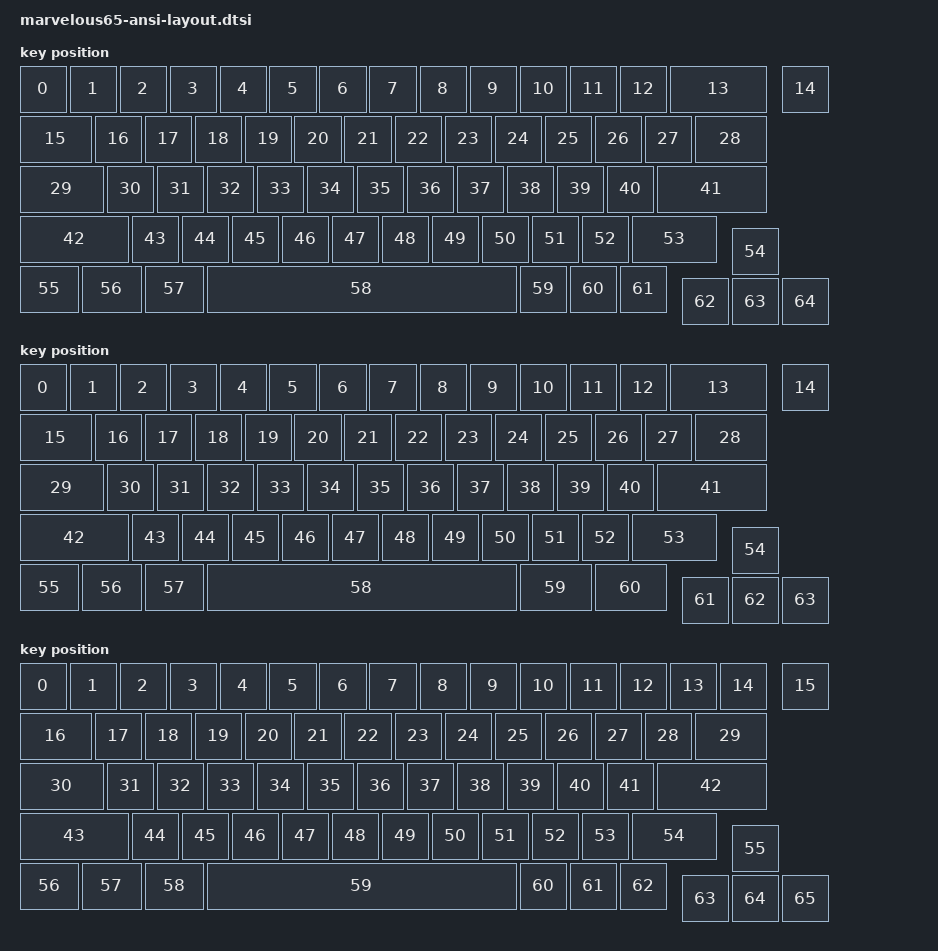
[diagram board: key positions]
#include <physical_layouts.dtsi>

/ {
    ansi_layout_0: ansi_ansi_layout_0 {
        compatible = "zmk,physical-layout";
        display-name = "Marvelous65-ansi-1";

        keys  //                     w   h    x    y     rot    rx    ry
            = <&key_physical_attrs 100 100  300    0       0     0     0>
            , <&key_physical_attrs 100 100  400    0       0     0     0>
            , <&key_physical_attrs 100 100  500    0       0     0     0>
            , <&key_physical_attrs 100 100  600    0       0     0     0>
            , <&key_physical_attrs 100 100  700    0       0     0     0>
            , <&key_physical_attrs 100 100  800    0       0     0     0>
            , <&key_physical_attrs 100 100  900    0       0     0     0>
            , <&key_physical_attrs 100 100 1000    0       0     0     0>
            , <&key_physical_attrs 100 100 1100    0       0     0     0>
            , <&key_physical_attrs 100 100 1200    0       0     0     0>
            , <&key_physical_attrs 100 100 1300    0       0     0     0>
            , <&key_physical_attrs 100 100 1400    0       0     0     0>
            , <&key_physical_attrs 100 100 1500    0       0     0     0>
            , <&key_physical_attrs 200 100 1600    0       0     0     0>
            , <&key_physical_attrs 100 100 1825    0       0     0     0>
            , <&key_physical_attrs 150 100  300  100       0     0     0>
            , <&key_physical_attrs 100 100  450  100       0     0     0>
            , <&key_physical_attrs 100 100  550  100       0     0     0>
            , <&key_physical_attrs 100 100  650  100       0     0     0>
            , <&key_physical_attrs 100 100  750  100       0     0     0>
            , <&key_physical_attrs 100 100  850  100       0     0     0>
            , <&key_physical_attrs 100 100  950  100       0     0     0>
            , <&key_physical_attrs 100 100 1050  100       0     0     0>
            , <&key_physical_attrs 100 100 1150  100       0     0     0>
            , <&key_physical_attrs 100 100 1250  100       0     0     0>
            , <&key_physical_attrs 100 100 1350  100       0     0     0>
            , <&key_physical_attrs 100 100 1450  100       0     0     0>
            , <&key_physical_attrs 100 100 1550  100       0     0     0>
            , <&key_physical_attrs 150 100 1650  100       0     0     0>
            , <&key_physical_attrs 175 100  300  200       0     0     0>
            , <&key_physical_attrs 100 100  475  200       0     0     0>
            , <&key_physical_attrs 100 100  575  200       0     0     0>
            , <&key_physical_attrs 100 100  675  200       0     0     0>
            , <&key_physical_attrs 100 100  775  200       0     0     0>
            , <&key_physical_attrs 100 100  875  200       0     0     0>
            , <&key_physical_attrs 100 100  975  200       0     0     0>
            , <&key_physical_attrs 100 100 1075  200       0     0     0>
            , <&key_physical_attrs 100 100 1175  200       0     0     0>
            , <&key_physical_attrs 100 100 1275  200       0     0     0>
            , <&key_physical_attrs 100 100 1375  200       0     0     0>
            , <&key_physical_attrs 100 100 1475  200       0     0     0>
            , <&key_physical_attrs 225 100 1575  200       0     0     0>
            , <&key_physical_attrs 225 100  300  300       0     0     0>
            , <&key_physical_attrs 100 100  525  300       0     0     0>
            , <&key_physical_attrs 100 100  625  300       0     0     0>
            , <&key_physical_attrs 100 100  725  300       0     0     0>
            , <&key_physical_attrs 100 100  825  300       0     0     0>
            , <&key_physical_attrs 100 100  925  300       0     0     0>
            , <&key_physical_attrs 100 100 1025  300       0     0     0>
            , <&key_physical_attrs 100 100 1125  300       0     0     0>
            , <&key_physical_attrs 100 100 1225  300       0     0     0>
            , <&key_physical_attrs 100 100 1325  300       0     0     0>
            , <&key_physical_attrs 100 100 1425  300       0     0     0>
            , <&key_physical_attrs 175 100 1525  300       0     0     0>
            , <&key_physical_attrs 100 100 1725  325       0     0     0>
            , <&key_physical_attrs 125 100  300  400       0     0     0>
            , <&key_physical_attrs 125 100  425  400       0     0     0>
            , <&key_physical_attrs 125 100  550  400       0     0     0>
            , <&key_physical_attrs 625 100  675  400       0     0     0>
            , <&key_physical_attrs 100 100 1300  400       0     0     0>
            , <&key_physical_attrs 100 100 1400  400       0     0     0>
            , <&key_physical_attrs 100 100 1500  400       0     0     0>
            , <&key_physical_attrs 100 100 1625  425       0     0     0>
            , <&key_physical_attrs 100 100 1725  425       0     0     0>
            , <&key_physical_attrs 100 100 1825  425       0     0     0>
            ;
    };

    ansi_layout_1: ansi_ansi_layout_1 {
        compatible = "zmk,physical-layout";
        display-name = "Marvelous65-ansi-2";

        keys  //                     w   h    x    y     rot    rx    ry
            = <&key_physical_attrs 100 100  300    0       0     0     0>
            , <&key_physical_attrs 100 100  400    0       0     0     0>
            , <&key_physical_attrs 100 100  500    0       0     0     0>
            , <&key_physical_attrs 100 100  600    0       0     0     0>
            , <&key_physical_attrs 100 100  700    0       0     0     0>
            , <&key_physical_attrs 100 100  800    0       0     0     0>
            , <&key_physical_attrs 100 100  900    0       0     0     0>
            , <&key_physical_attrs 100 100 1000    0       0     0     0>
            , <&key_physical_attrs 100 100 1100    0       0     0     0>
            , <&key_physical_attrs 100 100 1200    0       0     0     0>
            , <&key_physical_attrs 100 100 1300    0       0     0     0>
            , <&key_physical_attrs 100 100 1400    0       0     0     0>
            , <&key_physical_attrs 100 100 1500    0       0     0     0>
            , <&key_physical_attrs 200 100 1600    0       0     0     0>
            , <&key_physical_attrs 100 100 1825    0       0     0     0>
            , <&key_physical_attrs 150 100  300  100       0     0     0>
            , <&key_physical_attrs 100 100  450  100       0     0     0>
            , <&key_physical_attrs 100 100  550  100       0     0     0>
            , <&key_physical_attrs 100 100  650  100       0     0     0>
            , <&key_physical_attrs 100 100  750  100       0     0     0>
            , <&key_physical_attrs 100 100  850  100       0     0     0>
            , <&key_physical_attrs 100 100  950  100       0     0     0>
            , <&key_physical_attrs 100 100 1050  100       0     0     0>
            , <&key_physical_attrs 100 100 1150  100       0     0     0>
            , <&key_physical_attrs 100 100 1250  100       0     0     0>
            , <&key_physical_attrs 100 100 1350  100       0     0     0>
            , <&key_physical_attrs 100 100 1450  100       0     0     0>
            , <&key_physical_attrs 100 100 1550  100       0     0     0>
            , <&key_physical_attrs 150 100 1650  100       0     0     0>
            , <&key_physical_attrs 175 100  300  200       0     0     0>
            , <&key_physical_attrs 100 100  475  200       0     0     0>
            , <&key_physical_attrs 100 100  575  200       0     0     0>
            , <&key_physical_attrs 100 100  675  200       0     0     0>
            , <&key_physical_attrs 100 100  775  200       0     0     0>
            , <&key_physical_attrs 100 100  875  200       0     0     0>
            , <&key_physical_attrs 100 100  975  200       0     0     0>
            , <&key_physical_attrs 100 100 1075  200       0     0     0>
            , <&key_physical_attrs 100 100 1175  200       0     0     0>
            , <&key_physical_attrs 100 100 1275  200       0     0     0>
            , <&key_physical_attrs 100 100 1375  200       0     0     0>
            , <&key_physical_attrs 100 100 1475  200       0     0     0>
            , <&key_physical_attrs 225 100 1575  200       0     0     0>
            , <&key_physical_attrs 225 100  300  300       0     0     0>
            , <&key_physical_attrs 100 100  525  300       0     0     0>
            , <&key_physical_attrs 100 100  625  300       0     0     0>
            , <&key_physical_attrs 100 100  725  300       0     0     0>
            , <&key_physical_attrs 100 100  825  300       0     0     0>
            , <&key_physical_attrs 100 100  925  300       0     0     0>
            , <&key_physical_attrs 100 100 1025  300       0     0     0>
            , <&key_physical_attrs 100 100 1125  300       0     0     0>
            , <&key_physical_attrs 100 100 1225  300       0     0     0>
            , <&key_physical_attrs 100 100 1325  300       0     0     0>
            , <&key_physical_attrs 100 100 1425  300       0     0     0>
            , <&key_physical_attrs 175 100 1525  300       0     0     0>
            , <&key_physical_attrs 100 100 1725  325       0     0     0>
            , <&key_physical_attrs 125 100  300  400       0     0     0>
            , <&key_physical_attrs 125 100  425  400       0     0     0>
            , <&key_physical_attrs 125 100  550  400       0     0     0>
            , <&key_physical_attrs 625 100  675  400       0     0     0>
            , <&key_physical_attrs 150 100 1300  400       0     0     0>
            , <&key_physical_attrs 150 100 1450  400       0     0     0>
            , <&key_physical_attrs 100 100 1625  425       0     0     0>
            , <&key_physical_attrs 100 100 1725  425       0     0     0>
            , <&key_physical_attrs 100 100 1825  425       0     0     0>
            ;
    };

    ansi_layout_2: ansi_ansi_layout_2 {
        compatible = "zmk,physical-layout";
        display-name = "Marvelous65-ansi-split-backspace-1";

        keys  //                     w   h    x    y     rot    rx    ry
            = <&key_physical_attrs 100 100  300    0       0     0     0>
            , <&key_physical_attrs 100 100  400    0       0     0     0>
            , <&key_physical_attrs 100 100  500    0       0     0     0>
            , <&key_physical_attrs 100 100  600    0       0     0     0>
            , <&key_physical_attrs 100 100  700    0       0     0     0>
            , <&key_physical_attrs 100 100  800    0       0     0     0>
            , <&key_physical_attrs 100 100  900    0       0     0     0>
            , <&key_physical_attrs 100 100 1000    0       0     0     0>
            , <&key_physical_attrs 100 100 1100    0       0     0     0>
            , <&key_physical_attrs 100 100 1200    0       0     0     0>
            , <&key_physical_attrs 100 100 1300    0       0     0     0>
            , <&key_physical_attrs 100 100 1400    0       0     0     0>
            , <&key_physical_attrs 100 100 1500    0       0     0     0>
            , <&key_physical_attrs 100 100 1600    0       0     0     0>
            , <&key_physical_attrs 100 100 1700    0       0     0     0>
            , <&key_physical_attrs 100 100 1825    0       0     0     0>
            , <&key_physical_attrs 150 100  300  100       0     0     0>
            , <&key_physical_attrs 100 100  450  100       0     0     0>
            , <&key_physical_attrs 100 100  550  100       0     0     0>
            , <&key_physical_attrs 100 100  650  100       0     0     0>
            , <&key_physical_attrs 100 100  750  100       0     0     0>
            , <&key_physical_attrs 100 100  850  100       0     0     0>
            , <&key_physical_attrs 100 100  950  100       0     0     0>
            , <&key_physical_attrs 100 100 1050  100       0     0     0>
            , <&key_physical_attrs 100 100 1150  100       0     0     0>
            , <&key_physical_attrs 100 100 1250  100       0     0     0>
            , <&key_physical_attrs 100 100 1350  100       0     0     0>
            , <&key_physical_attrs 100 100 1450  100       0     0     0>
            , <&key_physical_attrs 100 100 1550  100       0     0     0>
            , <&key_physical_attrs 150 100 1650  100       0     0     0>
            , <&key_physical_attrs 175 100  300  200       0     0     0>
            , <&key_physical_attrs 100 100  475  200       0     0     0>
            , <&key_physical_attrs 100 100  575  200       0     0     0>
            , <&key_physical_attrs 100 100  675  200       0     0     0>
            , <&key_physical_attrs 100 100  775  200       0     0     0>
            , <&key_physical_attrs 100 100  875  200       0     0     0>
            , <&key_physical_attrs 100 100  975  200       0     0     0>
            , <&key_physical_attrs 100 100 1075  200       0     0     0>
            , <&key_physical_attrs 100 100 1175  200       0     0     0>
            , <&key_physical_attrs 100 100 1275  200       0     0     0>
            , <&key_physical_attrs 100 100 1375  200       0     0     0>
            , <&key_physical_attrs 100 100 1475  200       0     0     0>
            , <&key_physical_attrs 225 100 1575  200       0     0     0>
            , <&key_physical_attrs 225 100  300  300       0     0     0>
            , <&key_physical_attrs 100 100  525  300       0     0     0>
            , <&key_physical_attrs 100 100  625  300       0     0     0>
            , <&key_physical_attrs 100 100  725  300       0     0     0>
            , <&key_physical_attrs 100 100  825  300       0     0     0>
            , <&key_physical_attrs 100 100  925  300       0     0     0>
            , <&key_physical_attrs 100 100 1025  300       0     0     0>
            , <&key_physical_attrs 100 100 1125  300       0     0     0>
            , <&key_physical_attrs 100 100 1225  300       0     0     0>
            , <&key_physical_attrs 100 100 1325  300       0     0     0>
            , <&key_physical_attrs 100 100 1425  300       0     0     0>
            , <&key_physical_attrs 175 100 1525  300       0     0     0>
            , <&key_physical_attrs 100 100 1725  325       0     0     0>
            , <&key_physical_attrs 125 100  300  400       0     0     0>
            , <&key_physical_attrs 125 100  425  400       0     0     0>
            , <&key_physical_attrs 125 100  550  400       0     0     0>
            , <&key_physical_attrs 625 100  675  400       0     0     0>
            , <&key_physical_attrs 100 100 1300  400       0     0     0>
            , <&key_physical_attrs 100 100 1400  400       0     0     0>
            , <&key_physical_attrs 100 100 1500  400       0     0     0>
            , <&key_physical_attrs 100 100 1625  425       0     0     0>
            , <&key_physical_attrs 100 100 1725  425       0     0     0>
            , <&key_physical_attrs 100 100 1825  425       0     0     0>
            ;
    };

    ansi_layout_3: ansi_ansi_layout_3 {
        compatible = "zmk,physical-layout";
        display-name = "Marvelous65-ansi-split-backspace-2";

        keys  //                     w   h    x    y     rot    rx    ry
            = <&key_physical_attrs 100 100  300    0       0     0     0>
            , <&key_physical_attrs 100 100  400    0       0     0     0>
            , <&key_physical_attrs 100 100  500    0       0     0     0>
            , <&key_physical_attrs 100 100  600    0       0     0     0>
            , <&key_physical_attrs 100 100  700    0       0     0     0>
            , <&key_physical_attrs 100 100  800    0       0     0     0>
            , <&key_physical_attrs 100 100  900    0       0     0     0>
            , <&key_physical_attrs 100 100 1000    0       0     0     0>
            , <&key_physical_attrs 100 100 1100    0       0     0     0>
            , <&key_physical_attrs 100 100 1200    0       0     0     0>
            , <&key_physical_attrs 100 100 1300    0       0     0     0>
            , <&key_physical_attrs 100 100 1400    0       0     0     0>
            , <&key_physical_attrs 100 100 1500    0       0     0     0>
            , <&key_physical_attrs 100 100 1600    0       0     0     0>
            , <&key_physical_attrs 100 100 1700    0       0     0     0>
            , <&key_physical_attrs 100 100 1825    0       0     0     0>
            , <&key_physical_attrs 150 100  300  100       0     0     0>
            , <&key_physical_attrs 100 100  450  100       0     0     0>
            , <&key_physical_attrs 100 100  550  100       0     0     0>
            , <&key_physical_attrs 100 100  650  100       0     0     0>
            , <&key_physical_attrs 100 100  750  100       0     0     0>
            , <&key_physical_attrs 100 100  850  100       0     0     0>
            , <&key_physical_attrs 100 100  950  100       0     0     0>
            , <&key_physical_attrs 100 100 1050  100       0     0     0>
            , <&key_physical_attrs 100 100 1150  100       0     0     0>
            , <&key_physical_attrs 100 100 1250  100       0     0     0>
            , <&key_physical_attrs 100 100 1350  100       0     0     0>
            , <&key_physical_attrs 100 100 1450  100       0     0     0>
            , <&key_physical_attrs 100 100 1550  100       0     0     0>
            , <&key_physical_attrs 150 100 1650  100       0     0     0>
            , <&key_physical_attrs 175 100  300  200       0     0     0>
            , <&key_physical_attrs 100 100  475  200       0     0     0>
            , <&key_physical_attrs 100 100  575  200       0     0     0>
            , <&key_physical_attrs 100 100  675  200       0     0     0>
            , <&key_physical_attrs 100 100  775  200       0     0     0>
            , <&key_physical_attrs 100 100  875  200       0     0     0>
            , <&key_physical_attrs 100 100  975  200       0     0     0>
            , <&key_physical_attrs 100 100 1075  200       0     0     0>
            , <&key_physical_attrs 100 100 1175  200       0     0     0>
            , <&key_physical_attrs 100 100 1275  200       0     0     0>
            , <&key_physical_attrs 100 100 1375  200       0     0     0>
            , <&key_physical_attrs 100 100 1475  200       0     0     0>
            , <&key_physical_attrs 225 100 1575  200       0     0     0>
            , <&key_physical_attrs 225 100  300  300       0     0     0>
            , <&key_physical_attrs 100 100  525  300       0     0     0>
            , <&key_physical_attrs 100 100  625  300       0     0     0>
            , <&key_physical_attrs 100 100  725  300       0     0     0>
            , <&key_physical_attrs 100 100  825  300       0     0     0>
            , <&key_physical_attrs 100 100  925  300       0     0     0>
            , <&key_physical_attrs 100 100 1025  300       0     0     0>
            , <&key_physical_attrs 100 100 1125  300       0     0     0>
            , <&key_physical_attrs 100 100 1225  300       0     0     0>
            , <&key_physical_attrs 100 100 1325  300       0     0     0>
            , <&key_physical_attrs 100 100 1425  300       0     0     0>
            , <&key_physical_attrs 175 100 1525  300       0     0     0>
            , <&key_physical_attrs 100 100 1725  325       0     0     0>
            , <&key_physical_attrs 125 100  300  400       0     0     0>
            , <&key_physical_attrs 125 100  425  400       0     0     0>
            , <&key_physical_attrs 125 100  550  400       0     0     0>
            , <&key_physical_attrs 625 100  675  400       0     0     0>
            , <&key_physical_attrs 150 100 1300  400       0     0     0>
            , <&key_physical_attrs 150 100 1450  400       0     0     0>
            , <&key_physical_attrs 100 100 1625  425       0     0     0>
            , <&key_physical_attrs 100 100 1725  425       0     0     0>
            , <&key_physical_attrs 100 100 1825  425       0     0     0>
            ;
    };

    ansi_layout_4: ansi_ansi_layout_4 {
        compatible = "zmk,physical-layout";
        display-name = "Marvelous65-ansi-split-space-1";

        keys  //                     w   h    x    y     rot    rx    ry
            = <&key_physical_attrs 100 100  300    0       0     0     0>
            , <&key_physical_attrs 100 100  400    0       0     0     0>
            , <&key_physical_attrs 100 100  500    0       0     0     0>
            , <&key_physical_attrs 100 100  600    0       0     0     0>
            , <&key_physical_attrs 100 100  700    0       0     0     0>
            , <&key_physical_attrs 100 100  800    0       0     0     0>
            , <&key_physical_attrs 100 100  900    0       0     0     0>
            , <&key_physical_attrs 100 100 1000    0       0     0     0>
            , <&key_physical_attrs 100 100 1100    0       0     0     0>
            , <&key_physical_attrs 100 100 1200    0       0     0     0>
            , <&key_physical_attrs 100 100 1300    0       0     0     0>
            , <&key_physical_attrs 100 100 1400    0       0     0     0>
            , <&key_physical_attrs 100 100 1500    0       0     0     0>
            , <&key_physical_attrs 200 100 1600    0       0     0     0>
            , <&key_physical_attrs 100 100 1825    0       0     0     0>
            , <&key_physical_attrs 150 100  300  100       0     0     0>
            , <&key_physical_attrs 100 100  450  100       0     0     0>
            , <&key_physical_attrs 100 100  550  100       0     0     0>
            , <&key_physical_attrs 100 100  650  100       0     0     0>
            , <&key_physical_attrs 100 100  750  100       0     0     0>
            , <&key_physical_attrs 100 100  850  100       0     0     0>
            , <&key_physical_attrs 100 100  950  100       0     0     0>
            , <&key_physical_attrs 100 100 1050  100       0     0     0>
            , <&key_physical_attrs 100 100 1150  100       0     0     0>
            , <&key_physical_attrs 100 100 1250  100       0     0     0>
            , <&key_physical_attrs 100 100 1350  100       0     0     0>
            , <&key_physical_attrs 100 100 1450  100       0     0     0>
            , <&key_physical_attrs 100 100 1550  100       0     0     0>
            , <&key_physical_attrs 150 100 1650  100       0     0     0>
            , <&key_physical_attrs 175 100  300  200       0     0     0>
            , <&key_physical_attrs 100 100  475  200       0     0     0>
            , <&key_physical_attrs 100 100  575  200       0     0     0>
            , <&key_physical_attrs 100 100  675  200       0     0     0>
            , <&key_physical_attrs 100 100  775  200       0     0     0>
            , <&key_physical_attrs 100 100  875  200       0     0     0>
            , <&key_physical_attrs 100 100  975  200       0     0     0>
            , <&key_physical_attrs 100 100 1075  200       0     0     0>
            , <&key_physical_attrs 100 100 1175  200       0     0     0>
            , <&key_physical_attrs 100 100 1275  200       0     0     0>
            , <&key_physical_attrs 100 100 1375  200       0     0     0>
            , <&key_physical_attrs 100 100 1475  200       0     0     0>
            , <&key_physical_attrs 225 100 1575  200       0     0     0>
            , <&key_physical_attrs 225 100  300  300       0     0     0>
            , <&key_physical_attrs 100 100  525  300       0     0     0>
            , <&key_physical_attrs 100 100  625  300       0     0     0>
            , <&key_physical_attrs 100 100  725  300       0     0     0>
            , <&key_physical_attrs 100 100  825  300       0     0     0>
            , <&key_physical_attrs 100 100  925  300       0     0     0>
            , <&key_physical_attrs 100 100 1025  300       0     0     0>
            , <&key_physical_attrs 100 100 1125  300       0     0     0>
            , <&key_physical_attrs 100 100 1225  300       0     0     0>
            , <&key_physical_attrs 100 100 1325  300       0     0     0>
            , <&key_physical_attrs 100 100 1425  300       0     0     0>
            , <&key_physical_attrs 175 100 1525  300       0     0     0>
            , <&key_physical_attrs 100 100 1725  325       0     0     0>
            , <&key_physical_attrs 125 100  300  400       0     0     0>
            , <&key_physical_attrs 125 100  425  400       0     0     0>
            , <&key_physical_attrs 125 100  550  400       0     0     0>
            , <&key_physical_attrs 225 100  675  400       0     0     0>
            , <&key_physical_attrs 125 100  900  400       0     0     0>
            , <&key_physical_attrs 275 100 1025  400       0     0     0>
            , <&key_physical_attrs 100 100 1300  400       0     0     0>
            , <&key_physical_attrs 100 100 1400  400       0     0     0>
            , <&key_physical_attrs 100 100 1500  400       0     0     0>
            , <&key_physical_attrs 100 100 1625  425       0     0     0>
            , <&key_physical_attrs 100 100 1725  425       0     0     0>
            , <&key_physical_attrs 100 100 1825  425       0     0     0>
            ;
    };

    ansi_layout_5: ansi_ansi_layout_5 {
        compatible = "zmk,physical-layout";
        display-name = "Marvelous65-ansi-split-space-2";

        keys  //                     w   h    x    y     rot    rx    ry
            = <&key_physical_attrs 100 100  300    0       0     0     0>
            , <&key_physical_attrs 100 100  400    0       0     0     0>
            , <&key_physical_attrs 100 100  500    0       0     0     0>
            , <&key_physical_attrs 100 100  600    0       0     0     0>
            , <&key_physical_attrs 100 100  700    0       0     0     0>
            , <&key_physical_attrs 100 100  800    0       0     0     0>
            , <&key_physical_attrs 100 100  900    0       0     0     0>
            , <&key_physical_attrs 100 100 1000    0       0     0     0>
            , <&key_physical_attrs 100 100 1100    0       0     0     0>
            , <&key_physical_attrs 100 100 1200    0       0     0     0>
            , <&key_physical_attrs 100 100 1300    0       0     0     0>
            , <&key_physical_attrs 100 100 1400    0       0     0     0>
            , <&key_physical_attrs 100 100 1500    0       0     0     0>
            , <&key_physical_attrs 200 100 1600    0       0     0     0>
            , <&key_physical_attrs 100 100 1825    0       0     0     0>
            , <&key_physical_attrs 150 100  300  100       0     0     0>
            , <&key_physical_attrs 100 100  450  100       0     0     0>
            , <&key_physical_attrs 100 100  550  100       0     0     0>
            , <&key_physical_attrs 100 100  650  100       0     0     0>
            , <&key_physical_attrs 100 100  750  100       0     0     0>
            , <&key_physical_attrs 100 100  850  100       0     0     0>
            , <&key_physical_attrs 100 100  950  100       0     0     0>
            , <&key_physical_attrs 100 100 1050  100       0     0     0>
            , <&key_physical_attrs 100 100 1150  100       0     0     0>
            , <&key_physical_attrs 100 100 1250  100       0     0     0>
            , <&key_physical_attrs 100 100 1350  100       0     0     0>
            , <&key_physical_attrs 100 100 1450  100       0     0     0>
            , <&key_physical_attrs 100 100 1550  100       0     0     0>
            , <&key_physical_attrs 150 100 1650  100       0     0     0>
            , <&key_physical_attrs 175 100  300  200       0     0     0>
            , <&key_physical_attrs 100 100  475  200       0     0     0>
            , <&key_physical_attrs 100 100  575  200       0     0     0>
            , <&key_physical_attrs 100 100  675  200       0     0     0>
            , <&key_physical_attrs 100 100  775  200       0     0     0>
            , <&key_physical_attrs 100 100  875  200       0     0     0>
            , <&key_physical_attrs 100 100  975  200       0     0     0>
            , <&key_physical_attrs 100 100 1075  200       0     0     0>
            , <&key_physical_attrs 100 100 1175  200       0     0     0>
            , <&key_physical_attrs 100 100 1275  200       0     0     0>
            , <&key_physical_attrs 100 100 1375  200       0     0     0>
            , <&key_physical_attrs 100 100 1475  200       0     0     0>
            , <&key_physical_attrs 225 100 1575  200       0     0     0>
            , <&key_physical_attrs 225 100  300  300       0     0     0>
            , <&key_physical_attrs 100 100  525  300       0     0     0>
            , <&key_physical_attrs 100 100  625  300       0     0     0>
            , <&key_physical_attrs 100 100  725  300       0     0     0>
            , <&key_physical_attrs 100 100  825  300       0     0     0>
            , <&key_physical_attrs 100 100  925  300       0     0     0>
            , <&key_physical_attrs 100 100 1025  300       0     0     0>
            , <&key_physical_attrs 100 100 1125  300       0     0     0>
            , <&key_physical_attrs 100 100 1225  300       0     0     0>
            , <&key_physical_attrs 100 100 1325  300       0     0     0>
            , <&key_physical_attrs 100 100 1425  300       0     0     0>
            , <&key_physical_attrs 175 100 1525  300       0     0     0>
            , <&key_physical_attrs 100 100 1725  325       0     0     0>
            , <&key_physical_attrs 125 100  300  400       0     0     0>
            , <&key_physical_attrs 125 100  425  400       0     0     0>
            , <&key_physical_attrs 125 100  550  400       0     0     0>
            , <&key_physical_attrs 225 100  675  400       0     0     0>
            , <&key_physical_attrs 125 100  900  400       0     0     0>
            , <&key_physical_attrs 275 100 1025  400       0     0     0>
            , <&key_physical_attrs 150 100 1300  400       0     0     0>
            , <&key_physical_attrs 150 100 1450  400       0     0     0>
            , <&key_physical_attrs 100 100 1625  425       0     0     0>
            , <&key_physical_attrs 100 100 1725  425       0     0     0>
            , <&key_physical_attrs 100 100 1825  425       0     0     0>
            ;
    };

    ansi_layout_6: ansi_ansi_layout_6 {
        compatible = "zmk,physical-layout";
        display-name = "Marvelous65-ansi-split-space-split-backspace-1";

        keys  //                     w   h    x    y     rot    rx    ry
            = <&key_physical_attrs 100 100  300    0       0     0     0>
            , <&key_physical_attrs 100 100  400    0       0     0     0>
            , <&key_physical_attrs 100 100  500    0       0     0     0>
            , <&key_physical_attrs 100 100  600    0       0     0     0>
            , <&key_physical_attrs 100 100  700    0       0     0     0>
            , <&key_physical_attrs 100 100  800    0       0     0     0>
            , <&key_physical_attrs 100 100  900    0       0     0     0>
            , <&key_physical_attrs 100 100 1000    0       0     0     0>
            , <&key_physical_attrs 100 100 1100    0       0     0     0>
            , <&key_physical_attrs 100 100 1200    0       0     0     0>
            , <&key_physical_attrs 100 100 1300    0       0     0     0>
            , <&key_physical_attrs 100 100 1400    0       0     0     0>
            , <&key_physical_attrs 100 100 1500    0       0     0     0>
            , <&key_physical_attrs 100 100 1600    0       0     0     0>
            , <&key_physical_attrs 100 100 1700    0       0     0     0>
            , <&key_physical_attrs 100 100 1825    0       0     0     0>
            , <&key_physical_attrs 150 100  300  100       0     0     0>
            , <&key_physical_attrs 100 100  450  100       0     0     0>
            , <&key_physical_attrs 100 100  550  100       0     0     0>
            , <&key_physical_attrs 100 100  650  100       0     0     0>
            , <&key_physical_attrs 100 100  750  100       0     0     0>
            , <&key_physical_attrs 100 100  850  100       0     0     0>
            , <&key_physical_attrs 100 100  950  100       0     0     0>
            , <&key_physical_attrs 100 100 1050  100       0     0     0>
            , <&key_physical_attrs 100 100 1150  100       0     0     0>
            , <&key_physical_attrs 100 100 1250  100       0     0     0>
            , <&key_physical_attrs 100 100 1350  100       0     0     0>
            , <&key_physical_attrs 100 100 1450  100       0     0     0>
            , <&key_physical_attrs 100 100 1550  100       0     0     0>
            , <&key_physical_attrs 150 100 1650  100       0     0     0>
            , <&key_physical_attrs 175 100  300  200       0     0     0>
            , <&key_physical_attrs 100 100  475  200       0     0     0>
            , <&key_physical_attrs 100 100  575  200       0     0     0>
            , <&key_physical_attrs 100 100  675  200       0     0     0>
            , <&key_physical_attrs 100 100  775  200       0     0     0>
            , <&key_physical_attrs 100 100  875  200       0     0     0>
            , <&key_physical_attrs 100 100  975  200       0     0     0>
            , <&key_physical_attrs 100 100 1075  200       0     0     0>
            , <&key_physical_attrs 100 100 1175  200       0     0     0>
            , <&key_physical_attrs 100 100 1275  200       0     0     0>
            , <&key_physical_attrs 100 100 1375  200       0     0     0>
            , <&key_physical_attrs 100 100 1475  200       0     0     0>
            , <&key_physical_attrs 225 100 1575  200       0     0     0>
            , <&key_physical_attrs 225 100  300  300       0     0     0>
            , <&key_physical_attrs 100 100  525  300       0     0     0>
            , <&key_physical_attrs 100 100  625  300       0     0     0>
            , <&key_physical_attrs 100 100  725  300       0     0     0>
            , <&key_physical_attrs 100 100  825  300       0     0     0>
            , <&key_physical_attrs 100 100  925  300       0     0     0>
            , <&key_physical_attrs 100 100 1025  300       0     0     0>
            , <&key_physical_attrs 100 100 1125  300       0     0     0>
            , <&key_physical_attrs 100 100 1225  300       0     0     0>
            , <&key_physical_attrs 100 100 1325  300       0     0     0>
            , <&key_physical_attrs 100 100 1425  300       0     0     0>
            , <&key_physical_attrs 175 100 1525  300       0     0     0>
            , <&key_physical_attrs 100 100 1725  325       0     0     0>
            , <&key_physical_attrs 125 100  300  400       0     0     0>
            , <&key_physical_attrs 125 100  425  400       0     0     0>
            , <&key_physical_attrs 125 100  550  400       0     0     0>
            , <&key_physical_attrs 225 100  675  400       0     0     0>
            , <&key_physical_attrs 125 100  900  400       0     0     0>
            , <&key_physical_attrs 275 100 1025  400       0     0     0>
            , <&key_physical_attrs 100 100 1300  400       0     0     0>
            , <&key_physical_attrs 100 100 1400  400       0     0     0>
            , <&key_physical_attrs 100 100 1500  400       0     0     0>
            , <&key_physical_attrs 100 100 1625  425       0     0     0>
            , <&key_physical_attrs 100 100 1725  425       0     0     0>
            , <&key_physical_attrs 100 100 1825  425       0     0     0>
            ;
    };

    ansi_layout_7: ansi_ansi_layout_7 {
        compatible = "zmk,physical-layout";
        display-name = "Marvelous65-ansi-split-space-split-backspace-2";

        keys  //                     w   h    x    y     rot    rx    ry
            = <&key_physical_attrs 100 100  300    0       0     0     0>
            , <&key_physical_attrs 100 100  400    0       0     0     0>
            , <&key_physical_attrs 100 100  500    0       0     0     0>
            , <&key_physical_attrs 100 100  600    0       0     0     0>
            , <&key_physical_attrs 100 100  700    0       0     0     0>
            , <&key_physical_attrs 100 100  800    0       0     0     0>
            , <&key_physical_attrs 100 100  900    0       0     0     0>
            , <&key_physical_attrs 100 100 1000    0       0     0     0>
            , <&key_physical_attrs 100 100 1100    0       0     0     0>
            , <&key_physical_attrs 100 100 1200    0       0     0     0>
            , <&key_physical_attrs 100 100 1300    0       0     0     0>
            , <&key_physical_attrs 100 100 1400    0       0     0     0>
            , <&key_physical_attrs 100 100 1500    0       0     0     0>
            , <&key_physical_attrs 100 100 1600    0       0     0     0>
            , <&key_physical_attrs 100 100 1700    0       0     0     0>
            , <&key_physical_attrs 100 100 1825    0       0     0     0>
            , <&key_physical_attrs 150 100  300  100       0     0     0>
            , <&key_physical_attrs 100 100  450  100       0     0     0>
            , <&key_physical_attrs 100 100  550  100       0     0     0>
            , <&key_physical_attrs 100 100  650  100       0     0     0>
            , <&key_physical_attrs 100 100  750  100       0     0     0>
            , <&key_physical_attrs 100 100  850  100       0     0     0>
            , <&key_physical_attrs 100 100  950  100       0     0     0>
            , <&key_physical_attrs 100 100 1050  100       0     0     0>
            , <&key_physical_attrs 100 100 1150  100       0     0     0>
            , <&key_physical_attrs 100 100 1250  100       0     0     0>
            , <&key_physical_attrs 100 100 1350  100       0     0     0>
            , <&key_physical_attrs 100 100 1450  100       0     0     0>
            , <&key_physical_attrs 100 100 1550  100       0     0     0>
            , <&key_physical_attrs 150 100 1650  100       0     0     0>
            , <&key_physical_attrs 175 100  300  200       0     0     0>
            , <&key_physical_attrs 100 100  475  200       0     0     0>
            , <&key_physical_attrs 100 100  575  200       0     0     0>
            , <&key_physical_attrs 100 100  675  200       0     0     0>
            , <&key_physical_attrs 100 100  775  200       0     0     0>
            , <&key_physical_attrs 100 100  875  200       0     0     0>
            , <&key_physical_attrs 100 100  975  200       0     0     0>
            , <&key_physical_attrs 100 100 1075  200       0     0     0>
            , <&key_physical_attrs 100 100 1175  200       0     0     0>
            , <&key_physical_attrs 100 100 1275  200       0     0     0>
            , <&key_physical_attrs 100 100 1375  200       0     0     0>
            , <&key_physical_attrs 100 100 1475  200       0     0     0>
            , <&key_physical_attrs 225 100 1575  200       0     0     0>
            , <&key_physical_attrs 225 100  300  300       0     0     0>
            , <&key_physical_attrs 100 100  525  300       0     0     0>
            , <&key_physical_attrs 100 100  625  300       0     0     0>
            , <&key_physical_attrs 100 100  725  300       0     0     0>
            , <&key_physical_attrs 100 100  825  300       0     0     0>
            , <&key_physical_attrs 100 100  925  300       0     0     0>
            , <&key_physical_attrs 100 100 1025  300       0     0     0>
            , <&key_physical_attrs 100 100 1125  300       0     0     0>
            , <&key_physical_attrs 100 100 1225  300       0     0     0>
            , <&key_physical_attrs 100 100 1325  300       0     0     0>
            , <&key_physical_attrs 100 100 1425  300       0     0     0>
            , <&key_physical_attrs 175 100 1525  300       0     0     0>
            , <&key_physical_attrs 100 100 1725  325       0     0     0>
            , <&key_physical_attrs 125 100  300  400       0     0     0>
            , <&key_physical_attrs 125 100  425  400       0     0     0>
            , <&key_physical_attrs 125 100  550  400       0     0     0>
            , <&key_physical_attrs 225 100  675  400       0     0     0>
            , <&key_physical_attrs 125 100  900  400       0     0     0>
            , <&key_physical_attrs 275 100 1025  400       0     0     0>
            , <&key_physical_attrs 150 100 1300  400       0     0     0>
            , <&key_physical_attrs 150 100 1450  400       0     0     0>
            , <&key_physical_attrs 100 100 1625  425       0     0     0>
            , <&key_physical_attrs 100 100 1725  425       0     0     0>
            , <&key_physical_attrs 100 100 1825  425       0     0     0>
            ;
    };

};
